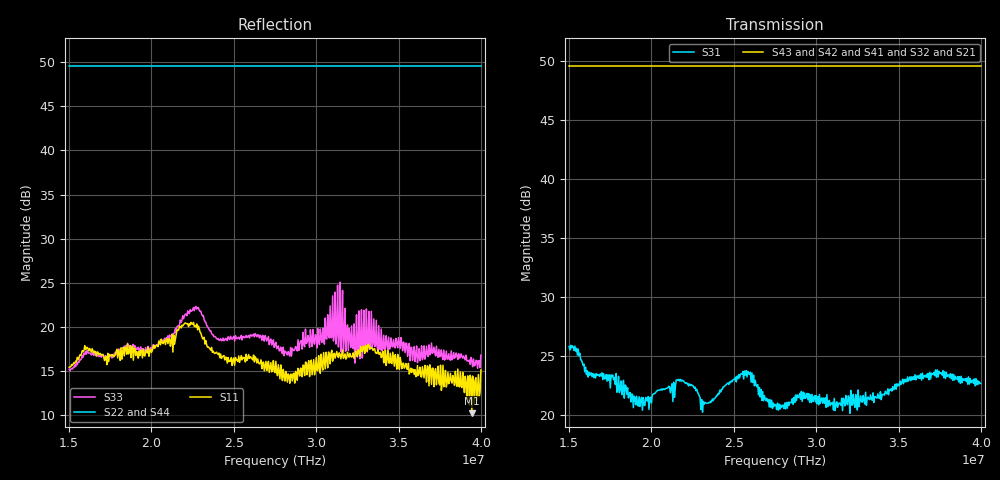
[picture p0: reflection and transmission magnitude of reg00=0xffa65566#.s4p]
#6203880!Ceyear Technologies,3672E,ZKJ00317,2.1.6
!Calibration ON : 4P/1,2,3,4
!Balanced Topology: BBAL
!Sweep Type: lin Frequency Sweep
!S4P File: Measurements: <Sdd11, Sdc11, Sdd12, Sdc12>,
!<Scd11, Scc11, Scd12, Scc12>,
!<Sdd21, Sdc21, Sdd22, Sdc22>,
!<Scd21, Scc21, Scd22, Scc22>:
!Friday, March 01, 2024  15 : 05
! # Hz  S  dB  R 50.000
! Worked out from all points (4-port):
!   501 points, 1.5e+07 THz to 4e+07 THz, reference 50 ohm
!   strongest paths, dB at 1.5e+07 THz, 2.125e+07 THz, 2.75e+07 THz, 3.375e+07 THz, 4e+07 THz:
!     S43: 49.5, 49.5, 49.5, 49.5, 49.5
!     S42: 49.5, 49.5, 49.5, 49.5, 49.5
!     S41: 49.5, 49.5, 49.5, 49.5, 49.5
!     S32: 49.5, 49.5, 49.5, 49.5, 49.5
!     S21: 49.5, 49.5, 49.5, 49.5, 49.5
!     S31: 25.8, 22.7, 20.9, 21.8, 22.7
!   lowest |S11| = 10.2 dB at 3.945e+07 THz (marker M1)
!   |S11| at or under -10 dB: nowhere
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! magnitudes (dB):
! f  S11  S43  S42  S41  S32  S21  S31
! 1.5e+07 THz  15.5  49.5  49.5  49.5  49.5  49.5  25.8
! 2.275e+07 THz  20.4  49.5  49.5  49.5  49.5  49.5  22.2
! 2.83e+07 THz  14.7  49.5  49.5  49.5  49.5  49.5  21.1
! 3.135e+07 THz  16.6  49.5  49.5  49.5  49.5  49.5  21.0
! 3.23e+07 THz  16.5  49.5  49.5  49.5  49.5  49.5  21.1
! 3.945e+07 THz  10.2  49.5  49.5  49.5  49.5  49.5  22.9
! 4e+07 THz  15.2  49.5  49.5  49.5  49.5  49.5  22.7
